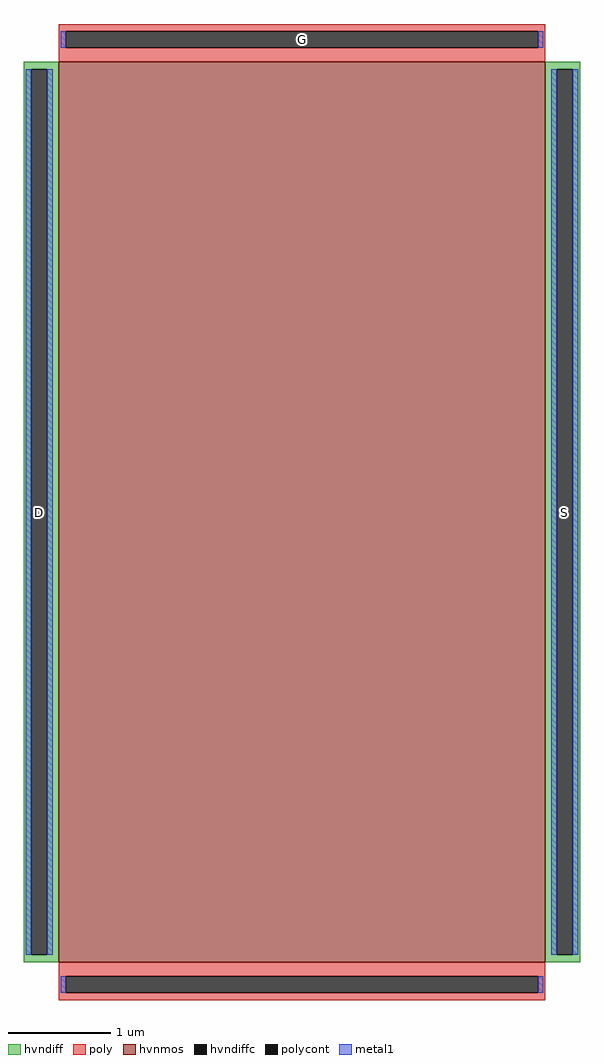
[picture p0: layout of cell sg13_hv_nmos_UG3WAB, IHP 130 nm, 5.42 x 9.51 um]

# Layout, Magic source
magic
tech ihp-sg13cmos5l
magscale 1 2
<< hvnmos >>
rect -474 -877 474 877
<< hvndiff >>
rect -542 863 -474 877
rect -542 -863 -528 863
rect -496 -863 -474 863
rect -542 -877 -474 -863
rect 474 863 542 877
rect 474 -863 496 863
rect 528 -863 542 863
rect 474 -877 542 -863
<< hvndiffc >>
rect -528 -863 -496 863
rect 496 -863 528 863
<< poly >>
rect -474 937 474 951
rect -474 905 -460 937
rect 460 905 474 937
rect -474 877 474 905
rect -474 -905 474 -877
rect -474 -937 -460 -905
rect 460 -937 474 -905
rect -474 -951 474 -937
<< polycont >>
rect -460 905 460 937
rect -460 -937 460 -905
<< metal1 >>
rect -470 905 -460 937
rect 460 905 470 937
rect -538 -863 -528 863
rect -496 -863 -486 863
rect 486 -863 496 863
rect 528 -863 538 863
rect -470 -937 -460 -905
rect 460 -937 470 -905
<< labels >>
rlabel hvndiffc -512 0 -512 0 0 D
port 10 nsew
rlabel hvndiffc 512 0 512 0 0 S
port 11 nsew
rlabel polycont 0 921 0 921 0 G
port 12 nsew
<< properties >>
string gencell sg13_hv_nmos
string library sg13cmos5l
string parameters w 8.765 l 4.74 m 1 ng 1 diffcov 100 polycov 100 guard 0 glc 1 grc 1 gtc 1 gbc 1 tbcov 100 rlcov 100 topc 1 botc 1 poverlap 0 doverlap 1 lmin 0.45 wmin 0.15 class mosfet compatible {sg13_lv_nmos sg13_hv_nmos} full_metal 1 conn_gates 0 gate_ring 0 doports 1 viasrc 0 viadrn 0 viagate 0 ccols 1 viagb 0 viagr 0 viagl 0 viagt 0
<< end >>
